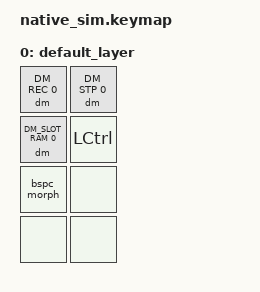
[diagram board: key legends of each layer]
#include <dt-bindings/zmk/keys.h>
#include <behaviors.dtsi>
#include <dt-bindings/zmk/kscan_mock.h>
#include <behaviors/dynamic_macro.dtsi>
#include <dt-bindings/zmk/dynamic_macros.h>

/ {
    behaviors {
        /* Ctrl+Del morphs to Backspace, masking the Ctrl out of the output.
         * This is the canonical mod-morph case: live output is a clean
         * Backspace, but the keycode event bus still carries the bare LCTRL
         * around the morphed Backspace. */
        bspc_morph: bspc_morph {
            compatible = "zmk,behavior-mod-morph";
            #binding-cells = <0>;
            bindings = <&kp DEL>, <&kp BSPC>;
            mods = <(MOD_LCTL|MOD_RCTL)>;
        };
    };
};

&kscan {
    rows = <4>;
    columns = <2>;
    exit-after;
    events = <
        /* REC */
        ZMK_MOCK_PRESS(0,0,10)
        ZMK_MOCK_RELEASE(0,0,10)
        /* Hold Ctrl, tap the morph (-> Backspace), release Ctrl */
        ZMK_MOCK_PRESS(1,1,10)
        ZMK_MOCK_PRESS(2,0,10)
        ZMK_MOCK_RELEASE(2,0,10)
        ZMK_MOCK_RELEASE(1,1,10)
        /* STP */
        ZMK_MOCK_PRESS(0,1,10)
        ZMK_MOCK_RELEASE(0,1,10)
        /* Assign to RAM slot 0 */
        ZMK_MOCK_PRESS(1,0,10)
        ZMK_MOCK_RELEASE(1,0,10)
        /* Play RAM slot 0: should replay a clean Backspace, NOT Ctrl+Backspace */
        ZMK_MOCK_PRESS(1,0,2000)
        ZMK_MOCK_RELEASE(1,0,10)
    >;
};

/ {
    keymap {
        compatible = "zmk,keymap";
        default_layer {
            bindings = <
                &dm DM_REC 0        &dm DM_STP 0
                &dm DM_SLOT_RAM 0   &kp LCTRL
                &bspc_morph         &none
                &none               &none
            >;
        };
    };
};
